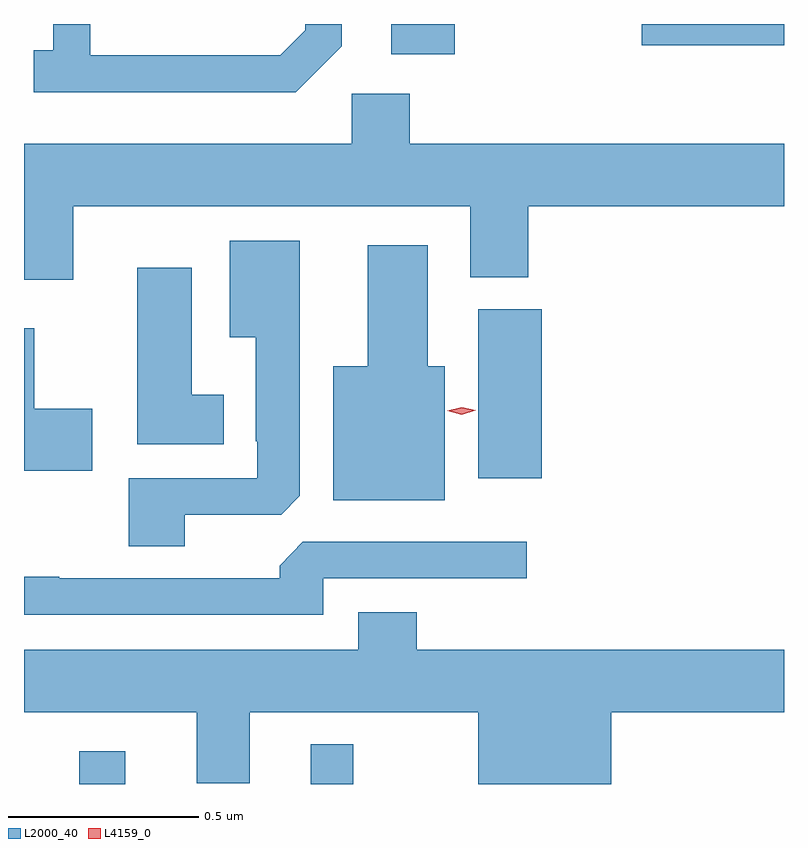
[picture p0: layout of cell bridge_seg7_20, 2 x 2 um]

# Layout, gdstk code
import gdstk
lib = gdstk.Library(unit=1e-6, precision=1e-09)
def R(c, l, rs):  # rectangles x0, y0, x1, y1
    for r in rs: c.add(gdstk.rectangle(r[:2], r[2:], *l))
def P(c, l, *ps):  # polygons
    for p in ps: c.add(gdstk.Polygon(p, *l))
L2000_40 = (2000, 40)
L4159_0 = (4159, 0)

bridge_seg7_20 = lib.new_cell('bridge_seg7_20')
R(bridge_seg7_20, L2000_40, [(1091.15,1045.715,1091.272,1045.801), (1091.759,1045.715,1091.872,1045.819), (1092.2,1046.52,1092.368,1046.964), (1091.972,1047.636,1092.138,1047.715), (1092.63,1047.659,1093.005,1047.715)])
P(bridge_seg7_20, L2000_40, [(1091.841,1047.657),(1091.841,1047.715),(1091.745,1047.715),(1091.745,1047.699),(1091.679,1047.633),(1091.179,1047.633),(1091.179,1047.715),(1091.082,1047.715),(1091.082,1047.646),(1091.031,1047.646),(1091.031,1047.536),(1091.72,1047.536)],
  [(1091.134,1047.236),(1092.179,1047.236),(1092.179,1047.049),(1092.332,1047.049),(1092.332,1047.236),(1093.005,1047.236),(1093.005,1047.4),(1092.02,1047.4),(1092.02,1047.532),(1091.868,1047.532),(1091.868,1047.4),(1091.005,1047.4),(1091.005,1047.042),(1091.134,1047.042)],
  [(1091.428,1046.424),(1091.682,1046.424),(1091.731,1046.473),(1091.731,1047.145),(1091.546,1047.145),(1091.546,1046.891),(1091.615,1046.891),(1091.615,1046.617),(1091.619,1046.617),(1091.619,1046.52),(1091.281,1046.52),(1091.281,1046.341),(1091.428,1046.341)],
  [(1092.112,1046.815),(1092.067,1046.815),(1092.067,1047.133),(1091.909,1047.133),(1091.909,1046.815),(1091.819,1046.815),(1091.819,1046.462),(1092.112,1046.462)],
  [(1091.53,1046.74),(1091.446,1046.74),(1091.446,1047.073),(1091.303,1047.073),(1091.303,1046.609),(1091.53,1046.609)],
  [(1091.185,1046.703),(1091.032,1046.703),(1091.032,1046.914),(1091.005,1046.914),(1091.005,1046.54),(1091.185,1046.54)],
  [(1091.793,1046.256),(1092.328,1046.256),(1092.328,1046.352),(1091.739,1046.352),(1091.678,1046.29),(1091.678,1046.256),(1091.098,1046.256),(1091.098,1046.261),(1091.005,1046.261),(1091.005,1046.16),(1091.793,1046.16)],
  [(1092.55,1045.904),(1093.005,1045.904),(1093.005,1046.068),(1092.038,1046.068),(1092.038,1046.167),(1091.885,1046.167),(1091.885,1046.068),(1091.005,1046.068),(1091.005,1045.904),(1091.459,1045.904),(1091.459,1045.717),(1091.599,1045.717),(1091.599,1045.904),(1092.2,1045.904),(1092.2,1045.715),(1092.55,1045.715)])
P(bridge_seg7_20, L4159_0, [(1092.157,1046.687),(1092.119,1046.697),(1092.119,1046.697),(1092.119,1046.697),(1092.157,1046.707),(1092.194,1046.698),(1092.194,1046.698),(1092.194,1046.698)])

lib.write_gds('bridge_seg7_20.gds')
